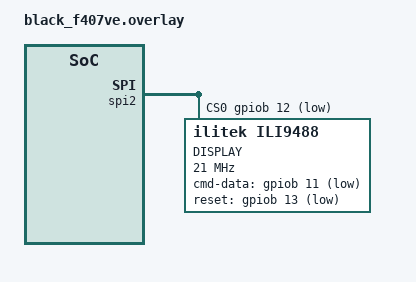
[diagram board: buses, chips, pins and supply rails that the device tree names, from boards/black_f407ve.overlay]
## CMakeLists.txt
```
# SPDX-License-Identifier: Apache-2.0

cmake_minimum_required(VERSION 3.13.1)

# Depended on your own environment variable
set(GNUARMEMB_TOOLCHAIN_PATH "$ENV{GCC_ARM_HOME}")
set(ZEPHYR_TOOLCHAIN_VARIANT gnuarmemb)

list(APPEND BOARD_ROOT ${CMAKE_CURRENT_SOURCE_DIR})

find_package(Zephyr REQUIRED HINTS $ENV{ZEPHYR_BASE})

project(zephyr_stm32f407_lvgl_demo)


FILE(GLOB app_sources src/*.c)
target_sources(app PRIVATE ${app_sources})
```

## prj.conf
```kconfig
CONFIG_HEAP_MEM_POOL_SIZE=4096
CONFIG_MAIN_STACK_SIZE=2048

CONFIG_DISPLAY=y
CONFIG_DISPLAY_LOG_LEVEL_DBG=y

CONFIG_LOG=y
CONFIG_LOG_STRDUP_BUF_COUNT=8

CONFIG_LVGL=y
#CONFIG_LVGL_DOUBLE_VDB=y
CONFIG_LVGL_BUFFER_ALLOC_STATIC=y
CONFIG_LVGL_ANTIALIAS=y
CONFIG_LVGL_USE_LABEL=y
CONFIG_LVGL_USE_CONT=y
CONFIG_LVGL_USE_BTN=y
CONFIG_LVGL_USE_GAUGE=y
CONFIG_LVGL_USE_BAR=y
CONFIG_LVGL_USE_LINEMETER=y
CONFIG_LVGL_USE_THEME_CUSTOM=y
CONFIG_LVGL_USE_THEME_MATERIAL=y
CONFIG_LVGL_THEME_DEFAULT_FONT_SUBTITLE_MONTSERRAT_28=y
```

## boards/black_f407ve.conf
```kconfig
CONFIG_LVGL_DPI=96

CONFIG_SPI=y
CONFIG_ILI9488=y
```

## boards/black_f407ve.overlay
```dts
/*
 * Copyright (c) 2018 Jan Van Winkel <jan.van_winkel@dxplore.eu>
 *
 * SPDX-License-Identifier: Apache-2.0
 */

 #include <dt-bindings/display/ili9xxx.h>


&spi2 {
	status = "okay";
	cs-gpios = <&gpiob 12 GPIO_ACTIVE_LOW>; 

	ili9488@0 {
		compatible = "ilitek,ili9488";
		label = "DISPLAY";
        spi-max-frequency = <21000000>;
		reg = <0>;
		cmd-data-gpios = <&gpiob 11 (GPIO_ACTIVE_LOW)>; 
		reset-gpios = <&gpiob 13 (GPIO_ACTIVE_LOW)>; 
		pixel-format = <ILI9XXX_PIXEL_FORMAT_RGB888>;
		rotation = <90>;
		frmctr1 = [a0 11];
		pwctrl1 = [17 15];
		pwctrl2 = [41];
		pgamctrl = [00 03 09 08 16 0a 3f 78 4c 09 0a 08 16 1a 0f];
		ngamctrl = [00 16 19 03 0f 05 32 45 46 04 0e 0d 35 37 0f];
	};
};
```

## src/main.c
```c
/*
 * Copyright (c) 2018 PHYTEC Messtechnik GmbH
 * Copyright (c) 2020 Li "oldrev" Wei <oldrevATTgmail.com>
 *
 * SPDX-License-Identifier: Apache-2.0
 */

#include <device.h>
#include <drivers/display.h>
#include <lvgl.h>
#include <stdio.h>
#include <string.h>
#include <zephyr.h>

#define LOG_LEVEL CONFIG_LOG_DEFAULT_LEVEL
#include <logging/log.h>
LOG_MODULE_REGISTER(app);

void main(void)
{
	const struct device *display_dev;

	display_dev = device_get_binding(CONFIG_LVGL_DISPLAY_DEV_NAME);

	if (display_dev == NULL) {
		LOG_ERR("device not found.  Aborting test.");
		return;
	}

	lv_obj_t *hello_world_label;
	hello_world_label = lv_label_create(lv_scr_act(), NULL);
	lv_label_set_text(hello_world_label, "Hello world!");
	lv_obj_align(hello_world_label, NULL, LV_ALIGN_IN_TOP_MID, 5, 5);

	/*Describe the color for the needles*/
    static lv_color_t needle_colors[3];
    needle_colors[0] = LV_COLOR_BLUE;
    needle_colors[1] = LV_COLOR_ORANGE;
    needle_colors[2] = LV_COLOR_PURPLE;

    /*Create a gauge*/
    lv_obj_t * gauge1 = lv_gauge_create(lv_scr_act(), NULL);
    lv_gauge_set_needle_count(gauge1, 3, needle_colors);
    lv_obj_set_size(gauge1, 200, 200);
    lv_obj_align(gauge1, NULL, LV_ALIGN_CENTER, 0, 0);

    /*Set the values*/
    lv_gauge_set_value(gauge1, 0, 10);
    lv_gauge_set_value(gauge1, 1, 20);
    lv_gauge_set_value(gauge1, 2, 30);

	lv_task_handler();
	display_blanking_off(display_dev);


	int gauge_value = 0;
	while (1) {
		lv_gauge_set_value(gauge1, 2, gauge_value);
		gauge_value++;
		if (gauge_value >= 100)
		{
			gauge_value = 0;
		}
		lv_task_handler();
		k_sleep(K_MSEC(20));
	}
}
```
